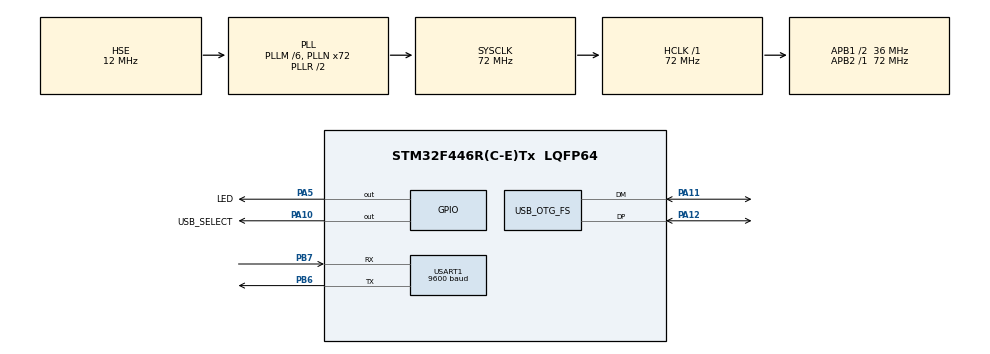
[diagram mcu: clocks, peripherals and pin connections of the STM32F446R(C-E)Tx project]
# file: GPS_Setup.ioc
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Dma.Request0=USART1_RX
Dma.Request1=USART1_TX
Dma.USART1_RX.0.Direction=DMA_PERIPH_TO_MEMORY
Dma.USART1_RX.0.FIFOMode=DMA_FIFOMODE_DISABLE
Dma.USART1_RX.0.Instance=DMA2_Stream2
Dma.USART1_RX.0.MemDataAlignment=DMA_MDATAALIGN_BYTE
Dma.USART1_RX.0.MemInc=DMA_MINC_ENABLE
Dma.USART1_RX.0.Mode=DMA_CIRCULAR
Dma.USART1_RX.0.PeriphDataAlignment=DMA_PDATAALIGN_BYTE
Dma.USART1_RX.0.PeriphInc=DMA_PINC_DISABLE
Dma.USART1_RX.0.Priority=DMA_PRIORITY_LOW
Dma.USART1_TX.1.Direction=DMA_MEMORY_TO_PERIPH
Dma.USART1_TX.1.FIFOMode=DMA_FIFOMODE_DISABLE
Dma.USART1_TX.1.Instance=DMA2_Stream7
Dma.USART1_TX.1.MemDataAlignment=DMA_MDATAALIGN_BYTE
Dma.USART1_TX.1.MemInc=DMA_MINC_ENABLE
Dma.USART1_TX.1.Mode=DMA_NORMAL
Dma.USART1_TX.1.PeriphDataAlignment=DMA_PDATAALIGN_BYTE
Dma.USART1_TX.1.PeriphInc=DMA_PINC_DISABLE
Dma.USART1_TX.1.Priority=DMA_PRIORITY_LOW
Mcu.Family=STM32F4
Mcu.Name=STM32F446R(C-E)Tx
Mcu.Package=LQFP64
NVIC.DMA2_Stream2_IRQn=true\:0\:0\:false\:false\:true\:false\:true\:true
NVIC.DMA2_Stream7_IRQn=true\:0\:0\:false\:false\:true\:false\:true\:true
NVIC.OTG_FS_IRQn=true\:0\:0\:false\:false\:true\:false\:true\:true
NVIC.PriorityGroup=NVIC_PRIORITYGROUP_4
NVIC.USART1_IRQn=true\:0\:0\:false\:false\:true\:true\:true\:true
PA10.GPIO_Label=USB_SELECT
PA10.Signal=GPIO_Output
PA11.Mode=Device_Only
PA11.Signal=USB_OTG_FS_DM
PA12.Mode=Device_Only
PA12.Signal=USB_OTG_FS_DP
PA13.Mode=Trace_Asynchronous_SW
PA13.Signal=SYS_JTMS-SWDIO
PA14.Mode=Trace_Asynchronous_SW
PA14.Signal=SYS_JTCK-SWCLK
PA5.GPIO_Label=LED
PA5.Signal=GPIO_Output
PB3.Mode=Trace_Asynchronous_SW
PB3.Signal=SYS_JTDO-SWO
PB6.Mode=Asynchronous
PB6.Signal=USART1_TX
PB7.Mode=Asynchronous
PB7.Signal=USART1_RX
PC14-OSC32_IN.Mode=LSE-External-Oscillator
PC14-OSC32_IN.Signal=RCC_OSC32_IN
PC15-OSC32_OUT.Mode=LSE-External-Oscillator
PC15-OSC32_OUT.Signal=RCC_OSC32_OUT
PH0-OSC_IN.Mode=HSE-External-Oscillator
PH0-OSC_IN.Signal=RCC_OSC_IN
PH1-OSC_OUT.Mode=HSE-External-Oscillator
PH1-OSC_OUT.Signal=RCC_OSC_OUT
ProjectManager.HeapSize=0x200
ProjectManager.StackSize=0x400
ProjectManager.TargetToolchain=STM32CubeIDE
RCC.AHBFreq_Value=72000000
RCC.APB1CLKDivider=RCC_HCLK_DIV2
RCC.APB1Freq_Value=36000000
RCC.APB1TimFreq_Value=72000000
RCC.APB2Freq_Value=72000000
RCC.APB2TimFreq_Value=72000000
RCC.CortexFreq_Value=72000000
RCC.HCLKFreq_Value=72000000
RCC.HSE_VALUE=12000000
RCC.PLLM=6
RCC.PLLN=72
RCC.PLLQ=3
RCC.RCC_RTC_Clock_SourceVirtual=RCC_RTCCLKSOURCE_LSE
RCC.SYSCLKFreq_VALUE=72000000
RCC.SYSCLKSource=RCC_SYSCLKSOURCE_PLLRCLK
RCC.USBFreq_Value=48000000
RCC.VCOOutputFreq_Value=144000000
USART1.BaudRate=9600
USART1.VirtualMode=VM_ASYNC
USB_DEVICE.CLASS_NAME_FS=CDC
USB_DEVICE.VirtualMode-CDC_FS=Cdc
USB_DEVICE.VirtualModeFS=Cdc_FS
USB_OTG_FS.VirtualMode=Device_Only
VP_RTC_VS_RTC_Activate.Mode=RTC_Enabled
VP_RTC_VS_RTC_Calendar.Mode=RTC_Calendar
VP_USB_DEVICE_VS_USB_DEVICE_CDC_FS.Mode=CDC_FS
board=custom

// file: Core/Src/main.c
/* USER CODE BEGIN Header */
/**
  ******************************************************************************
  * @file           : main.c
  * @brief          : Main program body
  ******************************************************************************
  * @attention
  *
  * Copyright (c) 2024 STMicroelectronics.
  * All rights reserved.
  *
  * This software is licensed under terms that can be found in the LICENSE file
  * in the root directory of this software component.
  * If no LICENSE file comes with this software, it is provided AS-IS.
  *
  ******************************************************************************
  */
/* USER CODE END Header */
#include "main.h"
#include "usb_device.h"

/* USER CODE BEGIN Includes */
#include <stdio.h>
/* USER CODE END Includes */

RTC_HandleTypeDef hrtc;

UART_HandleTypeDef huart1;
DMA_HandleTypeDef hdma_usart1_rx;
DMA_HandleTypeDef hdma_usart1_tx;

void SystemClock_Config(void);
static void MX_GPIO_Init(void);
static void MX_DMA_Init(void);
static void MX_RTC_Init(void);
static void MX_USART1_UART_Init(void);

/* USER CODE BEGIN 0 */

int _write(int file, char *ptr, int len)
{
	for(int i = 0; i < len; i++)
	{
		ITM_SendChar(*ptr++);
	}
	return len;
}

uint8_t buffer[1];

void HAL_UART_RxCpltCallback(UART_HandleTypeDef *huart)
{
	if(huart->Instance == USART1) {
		CDC_Transmit_FS(buffer, 1);
	}
}

/* USER CODE END 0 */

int main(void)
{

  /* MCU Configuration--------------------------------------------------------*/

  /* Reset of all peripherals, Initializes the Flash interface and the Systick. */
  HAL_Init();

  /* Configure the system clock */
  SystemClock_Config();

  /* Initialize all configured peripherals */
  MX_GPIO_Init();
  MX_DMA_Init();
  MX_RTC_Init();
  MX_USB_DEVICE_Init();
  MX_USART1_UART_Init();
  /* USER CODE BEGIN 2 */
  HAL_GPIO_WritePin(GPIOA, GPIO_PIN_10, GPIO_PIN_RESET);
  HAL_Delay(1000);
  HAL_GPIO_WritePin(GPIOA, GPIO_PIN_10, GPIO_PIN_SET);
  HAL_UART_Receive_DMA(&huart1, buffer, 1);

  /* USER CODE END 2 */

  /* Infinite loop */
  while (1)
  {

    /* USER CODE BEGIN 3 */
	HAL_GPIO_TogglePin(GPIOA, GPIO_PIN_5);
	HAL_Delay(1000);
  }
  /* USER CODE END 3 */
}

void SystemClock_Config(void)
{
  RCC_OscInitTypeDef RCC_OscInitStruct = {0};
  RCC_ClkInitTypeDef RCC_ClkInitStruct = {0};

  /** Configure the main internal regulator output voltage
  */
  __HAL_RCC_PWR_CLK_ENABLE();
  __HAL_PWR_VOLTAGESCALING_CONFIG(PWR_REGULATOR_VOLTAGE_SCALE3);

  /** Initializes the RCC Oscillators according to the specified parameters
  * in the RCC_OscInitTypeDef structure.
  */
  RCC_OscInitStruct.OscillatorType = RCC_OSCILLATORTYPE_HSE|RCC_OSCILLATORTYPE_LSE;
  RCC_OscInitStruct.HSEState = RCC_HSE_ON;
  RCC_OscInitStruct.LSEState = RCC_LSE_ON;
  RCC_OscInitStruct.PLL.PLLState = RCC_PLL_ON;
  RCC_OscInitStruct.PLL.PLLSource = RCC_PLLSOURCE_HSE;
  RCC_OscInitStruct.PLL.PLLM = 6;
  RCC_OscInitStruct.PLL.PLLN = 72;
  RCC_OscInitStruct.PLL.PLLP = RCC_PLLP_DIV2;
  RCC_OscInitStruct.PLL.PLLQ = 3;
  RCC_OscInitStruct.PLL.PLLR = 2;
  if (HAL_RCC_OscConfig(&RCC_OscInitStruct) != HAL_OK)
  {
    Error_Handler();
  }

  /** Initializes the CPU, AHB and APB buses clocks
  */
  RCC_ClkInitStruct.ClockType = RCC_CLOCKTYPE_HCLK|RCC_CLOCKTYPE_SYSCLK
                              |RCC_CLOCKTYPE_PCLK1|RCC_CLOCKTYPE_PCLK2;
  RCC_ClkInitStruct.SYSCLKSource = RCC_SYSCLKSOURCE_PLLRCLK;
  RCC_ClkInitStruct.AHBCLKDivider = RCC_SYSCLK_DIV1;
  RCC_ClkInitStruct.APB1CLKDivider = RCC_HCLK_DIV2;
  RCC_ClkInitStruct.APB2CLKDivider = RCC_HCLK_DIV1;

  if (HAL_RCC_ClockConfig(&RCC_ClkInitStruct, FLASH_LATENCY_2) != HAL_OK)
  {
    Error_Handler();
  }
}

static void MX_RTC_Init(void)
{

  RTC_TimeTypeDef sTime = {0};
  RTC_DateTypeDef sDate = {0};

  /** Initialize RTC Only
  */
  hrtc.Instance = RTC;
  hrtc.Init.HourFormat = RTC_HOURFORMAT_24;
  hrtc.Init.AsynchPrediv = 127;
  hrtc.Init.SynchPrediv = 255;
  hrtc.Init.OutPut = RTC_OUTPUT_DISABLE;
  hrtc.Init.OutPutPolarity = RTC_OUTPUT_POLARITY_HIGH;
  hrtc.Init.OutPutType = RTC_OUTPUT_TYPE_OPENDRAIN;
  if (HAL_RTC_Init(&hrtc) != HAL_OK)
  {
    Error_Handler();
  }

  /** Initialize RTC and set the Time and Date
  */
  sTime.Hours = 0x0;
  sTime.Minutes = 0x0;
  sTime.Seconds = 0x0;
  sTime.DayLightSaving = RTC_DAYLIGHTSAVING_NONE;
  sTime.StoreOperation = RTC_STOREOPERATION_RESET;
  if (HAL_RTC_SetTime(&hrtc, &sTime, RTC_FORMAT_BCD) != HAL_OK)
  {
    Error_Handler();
  }
  sDate.WeekDay = RTC_WEEKDAY_MONDAY;
  sDate.Month = RTC_MONTH_JANUARY;
  sDate.Date = 0x1;
  sDate.Year = 0x0;

  if (HAL_RTC_SetDate(&hrtc, &sDate, RTC_FORMAT_BCD) != HAL_OK)
  {
    Error_Handler();
  }

}

static void MX_USART1_UART_Init(void)
{

  huart1.Instance = USART1;
  huart1.Init.BaudRate = 9600;
  huart1.Init.WordLength = UART_WORDLENGTH_8B;
  huart1.Init.StopBits = UART_STOPBITS_1;
  huart1.Init.Parity = UART_PARITY_NONE;
  huart1.Init.Mode = UART_MODE_TX_RX;
  huart1.Init.HwFlowCtl = UART_HWCONTROL_NONE;
  huart1.Init.OverSampling = UART_OVERSAMPLING_16;
  if (HAL_UART_Init(&huart1) != HAL_OK)
  {
    Error_Handler();
  }

}

static void MX_DMA_Init(void)
{

  /* DMA controller clock enable */
  __HAL_RCC_DMA2_CLK_ENABLE();

  /* DMA interrupt init */
  /* DMA2_Stream2_IRQn interrupt configuration */
  HAL_NVIC_SetPriority(DMA2_Stream2_IRQn, 0, 0);
  HAL_NVIC_EnableIRQ(DMA2_Stream2_IRQn);
  /* DMA2_Stream7_IRQn interrupt configuration */
  HAL_NVIC_SetPriority(DMA2_Stream7_IRQn, 0, 0);
  HAL_NVIC_EnableIRQ(DMA2_Stream7_IRQn);

}

static void MX_GPIO_Init(void)
{
  GPIO_InitTypeDef GPIO_InitStruct = {0};

  /* GPIO Ports Clock Enable */
  __HAL_RCC_GPIOC_CLK_ENABLE();
  __HAL_RCC_GPIOH_CLK_ENABLE();
  __HAL_RCC_GPIOA_CLK_ENABLE();
  __HAL_RCC_GPIOB_CLK_ENABLE();

  /*Configure GPIO pin Output Level */
  HAL_GPIO_WritePin(GPIOA, LED_Pin|USB_SELECT_Pin, GPIO_PIN_RESET);

  /*Configure GPIO pins : LED_Pin USB_SELECT_Pin */
  GPIO_InitStruct.Pin = LED_Pin|USB_SELECT_Pin;
  GPIO_InitStruct.Mode = GPIO_MODE_OUTPUT_PP;
  GPIO_InitStruct.Pull = GPIO_NOPULL;
  GPIO_InitStruct.Speed = GPIO_SPEED_FREQ_LOW;
  HAL_GPIO_Init(GPIOA, &GPIO_InitStruct);

}

void Error_Handler(void)
{
  __disable_irq();
  while (1)
  {
  }
}
